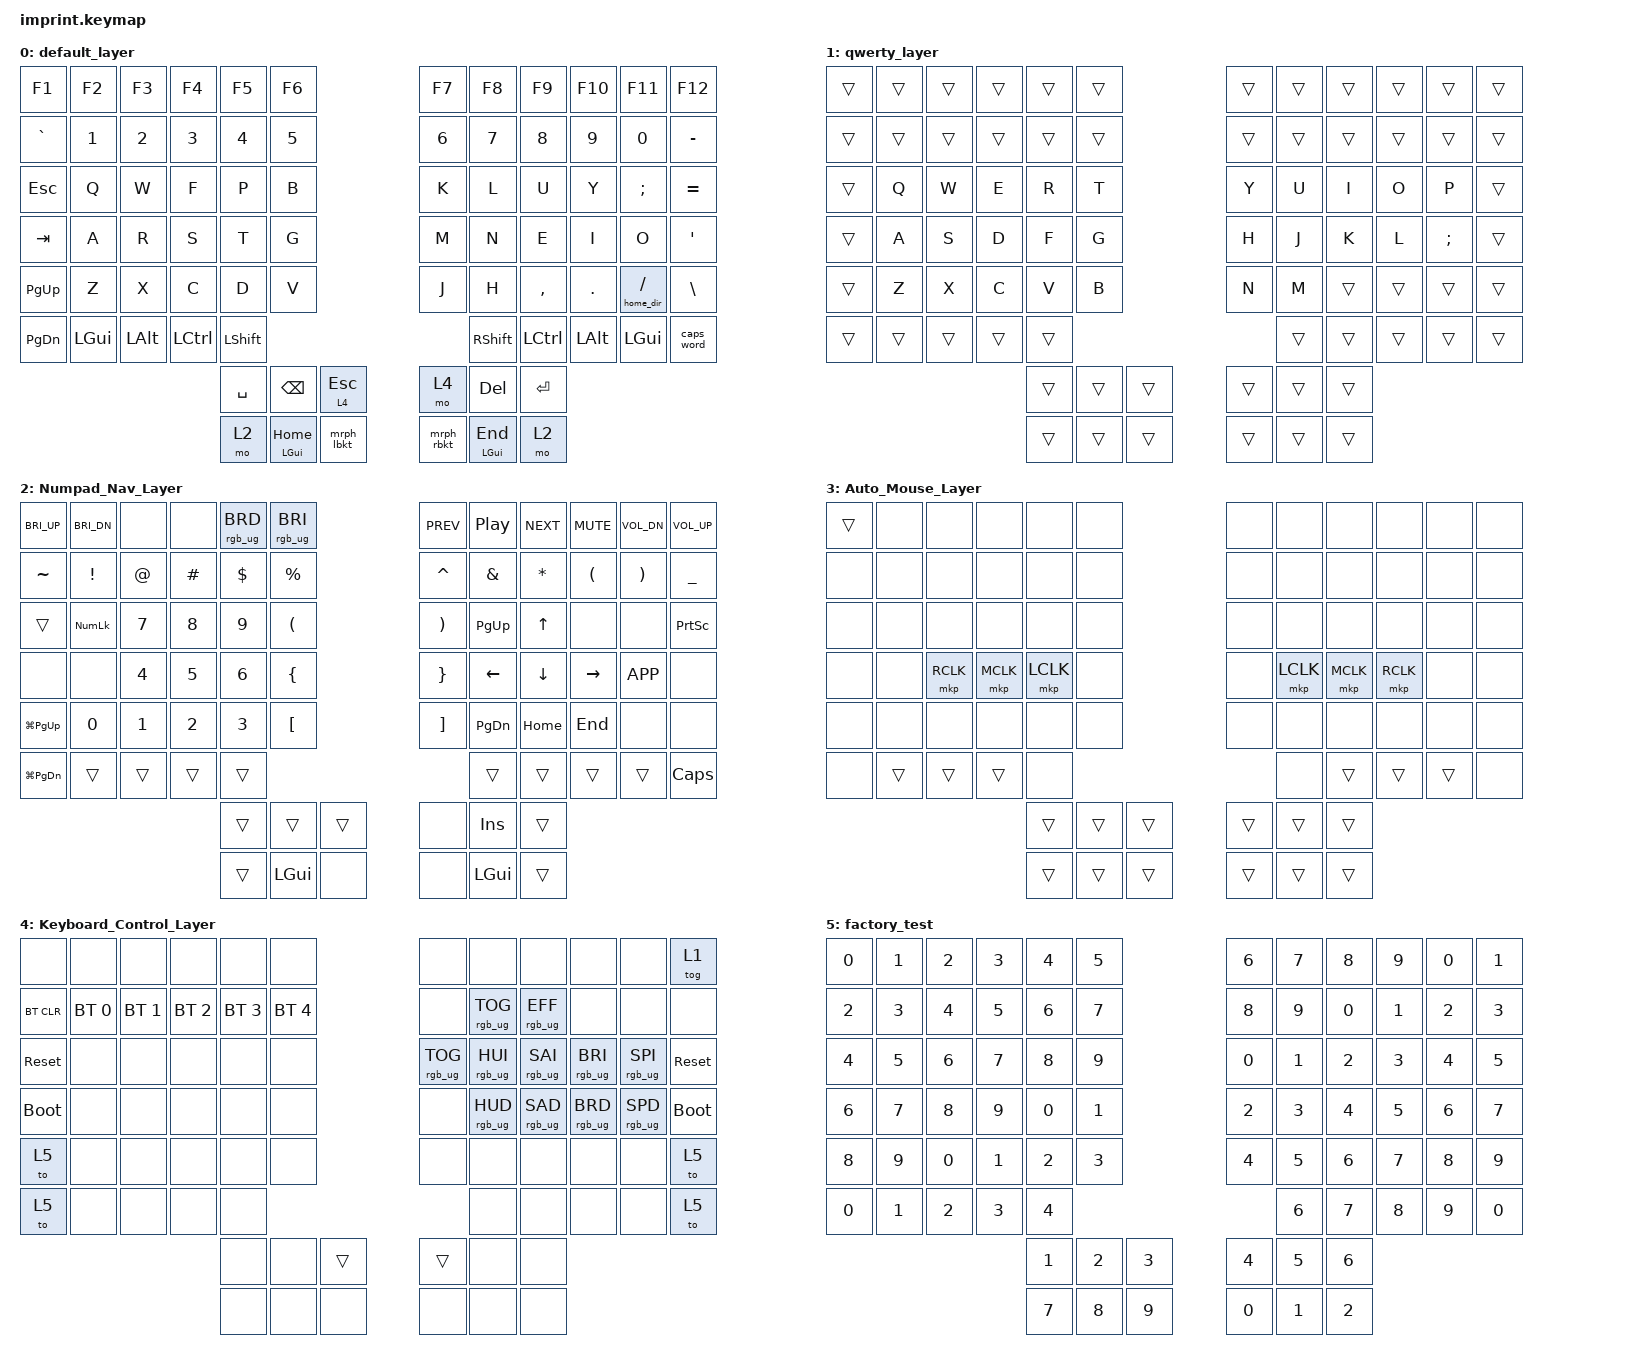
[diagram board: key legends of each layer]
#include <input/processors.dtsi>
#include <dt-bindings/zmk/input_transform.h>
#include <behaviors.dtsi>
#include <dt-bindings/zmk/bt.h>
#include <dt-bindings/zmk/keys.h>
#include <dt-bindings/zmk/pointing.h>
#include <dt-bindings/zmk/rgb.h>

&caps_word { continue-list = <UNDERSCORE BACKSPACE DELETE MINUS DOLLAR>; };

/ {
    chosen { zmk,matrix-transform = &imprint_function_row_full_bottom_row; };

    combos {
        compatible = "zmk,combos";

        c_up {
            bindings = <&kp UP>;
            key-positions = <44 32>;
            layers = <0 1>;
        };

        c_down {
            bindings = <&kp DOWN>;
            key-positions = <44 56>;
            layers = <0 1>;
        };

        c_left {
            bindings = <&kp LEFT>;
            key-positions = <44 43>;
            layers = <0 1>;
        };

        c_right {
            bindings = <&kp RIGHT>;
            key-positions = <44 45>;
            layers = <0 1>;
        };

        cm_pgup {
            bindings = <&kp PG_UP>;
            key-positions = <43 31>;
            layers = <0 1>;
        };

        cm_pgdn {
            bindings = <&kp PG_DN>;
            key-positions = <43 55>;
            layers = <0 1>;
        };
    };

    behaviors {
        mrph_lbkt: mrph_lbkt {
            compatible = "zmk,behavior-mod-morph";
            label = "MRPH_LBKT";
            bindings = <&kp LBRC>, <&kp LBKT>;

            #binding-cells = <0>;
            mods = <(MOD_LSFT|MOD_RSFT)>;
        };

        mrph_rbkt: mrph_rbkt {
            compatible = "zmk,behavior-mod-morph";
            label = "MRPH_RBKT";
            bindings = <&kp RBRC>, <&kp RBKT>;

            #binding-cells = <0>;
            mods = <(MOD_LSFT|MOD_RSFT)>;
        };

        td_leftup: td_leftup {
            compatible = "zmk,behavior-tap-dance";
            label = "TD_LEFTUP";
            #binding-cells = <0>;
            bindings = <&kp LEFT>, <&kp UP>;
        };

        td_rightdown: td_rightdown {
            compatible = "zmk,behavior-tap-dance";
            label = "TD_RIGHTDOWN";
            #binding-cells = <0>;
            bindings = <&kp LEFT>, <&kp DOWN>;
        };

        ht_home_dir: ht_home_dir {
            compatible = "zmk,behavior-hold-tap";
            label = "HT_HOME_DIR";
            bindings = <&home_dir>, <&kp>;

            #binding-cells = <2>;
            tapping-term-ms = <200>;
        };
    };

    macros {
        home_dir: home_dir {
            compatible = "zmk,behavior-macro";
            #binding-cells = <0>;
            bindings = <&kp TILDE &kp SLASH>;
            label = "HOME_DIR";
        };
    };

    keymap {
        compatible = "zmk,keymap";

        default_layer {
            bindings = <
&kp F1     &kp F2    &kp F3    &kp F4     &kp F5     &kp F6                       &kp F7      &kp F8        &kp F9     &kp F10   &kp F11              &kp F12
&kp GRAVE  &kp N1    &kp N2    &kp N3     &kp N4     &kp N5                       &kp N6      &kp N7        &kp N8     &kp N9    &kp N0               &kp MINUS
&kp ESC    &kp Q     &kp W     &kp F      &kp P      &kp B                        &kp K       &kp L         &kp U      &kp Y     &kp SEMI             &kp EQUAL
&kp TAB    &kp A     &kp R     &kp S      &kp T      &kp G                        &kp M       &kp N         &kp E      &kp I     &kp O                &kp SQT
&kp PG_UP  &kp Z     &kp X     &kp C      &kp D      &kp V                        &kp J       &kp H         &kp COMMA  &kp DOT   &ht_home_dir 0 FSLH  &kp BSLH
&kp PG_DN  &kp LGUI  &kp LALT  &kp LCTRL  &kp LSHFT                                           &kp RSHFT     &kp LCTRL  &kp LALT  &kp LGUI             &caps_word
                                          &kp SPACE  &kp BSPC       &lt 4 ESC     &mo 4       &kp DEL       &kp ENTER
                                          &mo 2      &mt LGUI HOME  &mrph_lbkt    &mrph_rbkt  &mt LGUI END  &mo 2
            >;
        };

        qwerty_layer {
            bindings = <
&trans  &trans  &trans  &trans  &trans  &trans            &trans  &trans  &trans  &trans  &trans    &trans
&trans  &trans  &trans  &trans  &trans  &trans            &trans  &trans  &trans  &trans  &trans    &trans
&trans  &kp Q   &kp W   &kp E   &kp R   &kp T             &kp Y   &kp U   &kp I   &kp O   &kp P     &trans
&trans  &kp A   &kp S   &kp D   &kp F   &kp G             &kp H   &kp J   &kp K   &kp L   &kp SEMI  &trans
&trans  &kp Z   &kp X   &kp C   &kp V   &kp B             &kp N   &kp M   &trans  &trans  &trans    &trans
&trans  &trans  &trans  &trans  &trans                            &trans  &trans  &trans  &trans    &trans
                                &trans  &trans  &trans    &trans  &trans  &trans
                                &trans  &trans  &trans    &trans  &trans  &trans
            >;
        };

        Numpad_Nav_Layer {
            bindings = <
&kp C_BRI_UP   &kp C_BRI_DN     &none   &none     &rgb_ug RGB_BRD  &rgb_ug RGB_BRI            &kp C_PREV  &kp C_PP   &kp C_NEXT  &kp C_MUTE  &kp C_VOL_DN  &kp C_VOL_UP
&kp TILDE      &kp EXCLAMATION  &kp AT  &kp HASH  &kp DOLLAR       &kp PERCENT                &kp CARET   &kp AMPS   &kp STAR    &kp LPAR    &kp RPAR      &kp UNDER
&trans         &kp KP_NUM       &kp N7  &kp N8    &kp N9           &kp LPAR                   &kp RPAR    &kp PG_UP  &kp UP      &none       &none         &kp PSCRN
&none          &none            &kp N4  &kp N5    &kp N6           &kp LBRC                   &kp RBRC    &kp LEFT   &kp DOWN    &kp RIGHT   &kp K_APP     &none
&kp LG(PG_UP)  &kp N0           &kp N1  &kp N2    &kp N3           &kp LBKT                   &kp RBKT    &kp PG_DN  &kp HOME    &kp END     &none         &none
&kp LG(PG_DN)  &trans           &trans  &trans    &trans                                                  &trans     &trans      &trans      &trans        &kp CAPS
                                                  &trans           &trans           &trans    &none       &kp INS    &trans
                                                  &trans           &kp LGUI         &none     &none       &kp LGUI   &trans
            >;
        };

        Auto_Mouse_Layer {
            bindings = <
&trans  &none   &none      &none      &none      &none             &none   &none      &none      &none      &none   &none
&none   &none   &none      &none      &none      &none             &none   &none      &none      &none      &none   &none
&none   &none   &none      &none      &none      &none             &none   &none      &none      &none      &none   &none
&none   &none   &mkp RCLK  &mkp MCLK  &mkp LCLK  &none             &none   &mkp LCLK  &mkp MCLK  &mkp RCLK  &none   &none
&none   &none   &none      &none      &none      &none             &none   &none      &none      &none      &none   &none
&none   &trans  &trans     &trans     &none                                &none      &trans     &trans     &trans  &none
                                      &trans     &trans  &trans    &trans  &trans     &trans
                                      &trans     &trans  &trans    &trans  &trans     &trans
            >;
        };

        Keyboard_Control_Layer {
            bindings = <
&none        &none         &none         &none         &none         &none                   &none            &none            &none            &none            &none            &tog 1
&bt BT_CLR   &bt BT_SEL 0  &bt BT_SEL 1  &bt BT_SEL 2  &bt BT_SEL 3  &bt BT_SEL 4            &none            &rgb_ug RGB_TOG  &rgb_ug RGB_EFF  &none            &none            &none
&sys_reset   &none         &none         &none         &none         &none                   &rgb_ug RGB_TOG  &rgb_ug RGB_HUI  &rgb_ug RGB_SAI  &rgb_ug RGB_BRI  &rgb_ug RGB_SPI  &sys_reset
&bootloader  &none         &none         &none         &none         &none                   &none            &rgb_ug RGB_HUD  &rgb_ug RGB_SAD  &rgb_ug RGB_BRD  &rgb_ug RGB_SPD  &bootloader
&to 5        &none         &none         &none         &none         &none                   &none            &none            &none            &none            &none            &to 5
&to 5        &none         &none         &none         &none                                                  &none            &none            &none            &none            &to 5
                                                       &none         &none         &trans    &trans           &none            &none
                                                       &none         &none         &none     &none            &none            &none
            >;
        };

        factory_test {
            bindings = <
&kp N0  &kp N1  &kp N2  &kp N3  &kp N4  &kp N5            &kp N6  &kp N7  &kp N8  &kp N9  &kp N0  &kp N1
&kp N2  &kp N3  &kp N4  &kp N5  &kp N6  &kp N7            &kp N8  &kp N9  &kp N0  &kp N1  &kp N2  &kp N3
&kp N4  &kp N5  &kp N6  &kp N7  &kp N8  &kp N9            &kp N0  &kp N1  &kp N2  &kp N3  &kp N4  &kp N5
&kp N6  &kp N7  &kp N8  &kp N9  &kp N0  &kp N1            &kp N2  &kp N3  &kp N4  &kp N5  &kp N6  &kp N7
&kp N8  &kp N9  &kp N0  &kp N1  &kp N2  &kp N3            &kp N4  &kp N5  &kp N6  &kp N7  &kp N8  &kp N9
&kp N0  &kp N1  &kp N2  &kp N3  &kp N4                            &kp N6  &kp N7  &kp N8  &kp N9  &kp N0
                                &kp N1  &kp N2  &kp N3    &kp N4  &kp N5  &kp N6
                                &kp N7  &kp N8  &kp N9    &kp N0  &kp N1  &kp N2
            >;
        };
    };
};

// right hand trackball configuration

&trackball_peripheral_listener {
    input-processors =
        // activate layer 3 within 500ms of the trackball moving,,,,,,,,,,
        <&zip_temp_layer 3 500>;
};

//left hand trackball configuration

&trackball_central_listener {
    input-processors =
        // multiply sensitivity by 1, divide by 3 (make it slower for scrolling),,,,,,,,,,,
        <&zip_xy_scaler 1 3>,
        // make this trackball output scrolling events by default instead of cursor movement,,,,,,,,,,,
        <&zip_xy_to_scroll_mapper>,
        // invert horiz scrolling so that the view moves in the same direction as the top of the trackball.,,,,,,,,,,,
        <&zip_scroll_transform INPUT_TRANSFORM_X_INVERT>,
        <&zip_scroll_scaler 1 12>;
};
